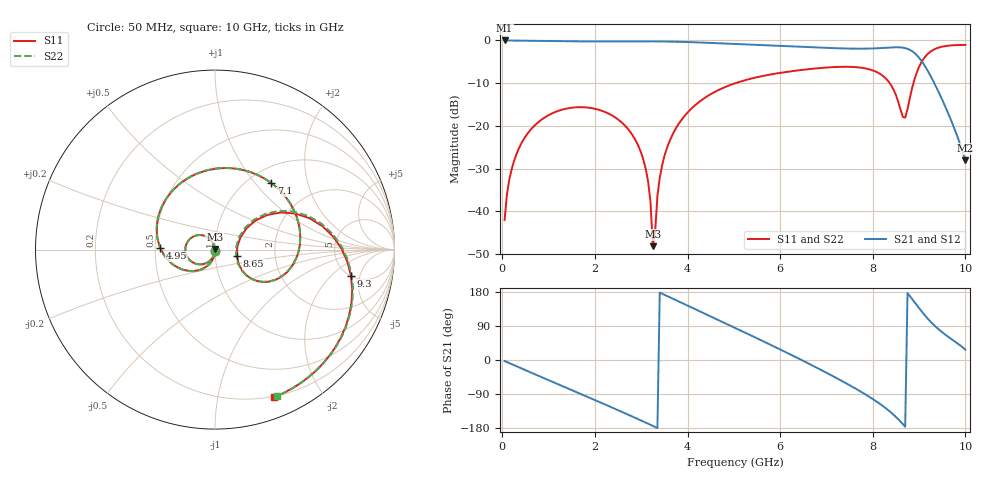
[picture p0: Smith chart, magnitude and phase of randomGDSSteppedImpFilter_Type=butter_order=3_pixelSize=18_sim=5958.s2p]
! freq	dB(S11)	phase(S11)	dB(S12)	phase(S12)
!  dB(S21)	phase(S21)	dB(S22)	phase(S22)
!S-par simulation data
#  GHz  S  DB  R 50
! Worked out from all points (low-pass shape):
!   200 points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, 50 MHz to 10 GHz, reference 50 ohm
!   highest |S21| = 0.00 dB at 50 MHz (marker M1); lowest = -28.1 dB at 10 GHz (marker M2)
!   |S21| within 3 dB of the highest: start of sweep to 8.906 GHz
!   lowest |S11| = -48.2 dB at 3.25 GHz (marker M3), VSWR 1.01, Z = 49.9 + j0.362 ohm
!   |S11| at or under -10 dB: start of sweep to 5.037 GHz; 8.365 GHz to 8.878 GHz (513.7 MHz wide, 5.96 % of centre)
!   |S22| runs from -48.5 to -1.0 dB; largest |S21 - S12| = 0
!   S11 on the Smith chart (normalised r, x): 50 MHz: 1.00, -0.02; 4.95 GHz: 0.53, +0.01; 7.1 GHz: 1.26, +1.22; 8.65 GHz: 1.27, -0.09; 9.3 GHz: 5.04, -3.65; 10 GHz: 0.19, -1.46
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0.05  -42.05 -91.9  -0.00 -2.7  -0.00 -2.7  -42.05 -91.9
0.2  -30.27 -100.0  -0.02 -10.8  -0.02 -10.8  -30.27 -100.0
0.5  -22.52 -117.2  -0.06 -26.8  -0.06 -26.8  -22.52 -117.2
1.15  -16.74 -151.8  -0.16 -61.1  -0.16 -61.1  -16.74 -151.8
1.75  -15.65 176.7  -0.23 -92.5  -0.23 -92.5  -15.65 176.6
2.9  -23.85 115.5  -0.20 -154.3  -0.20 -154.3  -23.85 115.1
3.15  -33.15 103.3  -0.21 -168.2  -0.21 -168.2  -33.17 101.4
3.2  -37.73 102.2  -0.21 -171.0  -0.21 -171.0  -37.77 98.9
3.25  -48.19 111.1  -0.22 -173.8  -0.22 -173.8  -48.53 97.9
3.4  -32.17 -95.3  -0.23 177.8  -0.23 177.8  -32.17 -93.2
3.9  -18.18 -121.9  -0.34 149.3  -0.34 149.3  -18.17 -121.3
4.95  -10.33 178.2  -0.80 89.1  -0.80 89.1  -10.33 178.7
5.05  -9.95 172.5  -0.85 83.3  -0.85 83.3  -9.95 173.0
5.95  -7.69 120.0  -1.28 30.9  -1.28 30.9  -7.69 120.6
6.7  -6.63 74.7  -1.62 -14.7  -1.62 -14.7  -6.63 75.3
7.1  -6.27 49.7  -1.79 -40.0  -1.79 -40.0  -6.27 50.3
7.8  -6.48 3.9  -1.93 -87.8  -1.93 -87.8  -6.48 4.4
8.35  -9.76 -33.7  -1.67 -134.0  -1.67 -134.0  -9.78 -33.6
8.65  -17.91 -16.3  -1.69 -169.2  -1.69 -169.2  -18.23 -16.5
9  -6.19 24.2  -4.06 136.8  -4.06 136.8  -6.22 25.6
9.3  -2.25 -10.9  -9.38 94.6  -9.38 94.6  -2.26 -9.8
10  -1.05 -68.2  -28.11 27.2  -28.11 27.2  -1.05 -67.2
